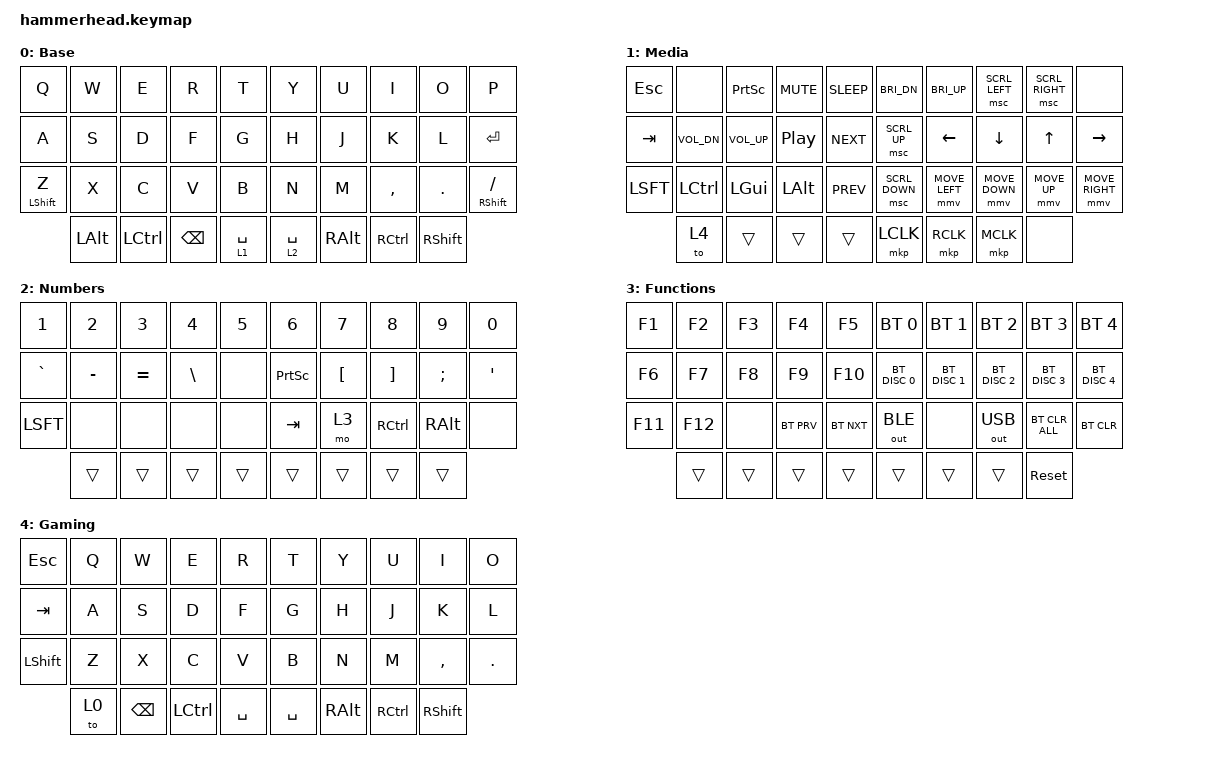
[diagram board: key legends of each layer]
#include <behaviors.dtsi>
#include <dt-bindings/zmk/keys.h>
#include <dt-bindings/zmk/bt.h>
#include <dt-bindings/zmk/pointing.h>
#include <dt-bindings/zmk/outputs.h>
#include <dt-bindings/zmk/mouse.h>

/ {
    keymap {
        compatible = "zmk,keymap";

        // Illustration of the keymap layout:
        // ┌────┬────┬────┬────┬────┬────┬────┬────┬────┬────┐
        // │ Q  │ W  │ E  │ R  │ T  │ Y  │ U  │ I  │ O  │ P  │
        // ├────┼────┼────┼────┼────┼────┼────┼────┼────┼────┤
        // │ A  │ S  │ D  │ F  │ G  │ H  │ J  │ K  │ L  │Entr│
        // ├────┼────┼────┼────┼────┼────┼────┼────┼────┼────┤
        // │ Z  │ X  │ C  │ V  │ B  │ N  │ M  │ ,  │ .  │ /  │
        // └────┴────┴────┴────┴────┴────┴────┴────┴────┴────┘
        //      │Ctrl│Win │Alt │Bksp│Spc │Alt │Ctrl│Shft│

        default_layer { // Layer 0
            display-name = "Base";
            bindings = <
                &kp Q           &kp W       &kp E       &kp R       &kp T               &kp Y         &kp U       &kp I       &kp O       &kp P
                &kp A           &kp S       &kp D       &kp F       &kp G               &kp H         &kp J       &kp K       &kp L       &kp ENTER
                &mt LSHIFT Z    &kp X       &kp C       &kp V       &kp B               &kp N         &kp M       &kp COMMA   &kp DOT     &mt RSHFT SLASH
                                &kp LALT    &kp LCTRL   &kp BSPC    &lt 1 SPACE         &lt 2 SPACE   &kp RALT    &kp RCTRL   &kp RSHFT
            >;
        };

        layer1 { // Layer 1
            display-name = "Media";
            bindings = <
                &kp ESC     &none           &kp PSCRN       &kp C_MUTE  &kp C_SLEEP         &kp C_BRI_DN    &kp C_BRI_UP    &msc SCRL_LEFT  &msc SCRL_RIGHT &none
                &kp TAB     &kp C_VOL_DN    &kp C_VOL_UP    &kp C_PP    &kp C_NEXT          &msc SCRL_UP    &kp LEFT        &kp DOWN        &kp UP          &kp RIGHT       
                &kp LSFT    &kp LCTRL       &kp LGUI        &kp LALT    &kp C_PREV          &msc SCRL_DOWN  &mmv MOVE_LEFT  &mmv MOVE_DOWN  &mmv MOVE_UP    &mmv MOVE_RIGHT 
                            &to 4           &trans          &trans      &trans              &mkp LCLK       &mkp RCLK       &mkp MCLK       &none
            >;
        };

        layer2 { // Layer 2
            display-name = "Numbers";
            bindings = <
                &kp N1      &kp N2      &kp N3      &kp N4      &kp N5              &kp N6      &kp N7      &kp N8      &kp N9      &kp N0
                &kp GRAVE   &kp MINUS   &kp EQUAL   &kp BSLH    &none               &kp PSCRN   &kp LBKT    &kp RBKT    &kp SEMI    &kp SQT
                &kp LSFT    &none       &none       &none       &none               &kp TAB     &mo 3       &kp RCTRL   &kp RALT    &none
                            &trans      &trans      &trans      &trans              &trans      &trans      &trans      &trans
            >;
        };

        layer3 { // Layer 3
            display-name = "Functions";
            bindings = <
                &kp F1      &kp F2      &kp F3      &kp F4      &kp F5              &bt BT_SEL 0    &bt BT_SEL 1    &bt BT_SEL 2    &bt BT_SEL 3    &bt BT_SEL 4
                &kp F6      &kp F7      &kp F8      &kp F9      &kp F10             &bt BT_DISC 0   &bt BT_DISC 1   &bt BT_DISC 2   &bt BT_DISC 3   &bt BT_DISC 4
                &kp F11     &kp F12     &none       &bt BT_PRV  &bt BT_NXT          &out OUT_BLE    &none           &out OUT_USB    &bt BT_CLR_ALL  &bt BT_CLR
                            &trans      &trans      &trans      &trans              &trans          &trans          &trans          &sys_reset
            >;
        };

        layer4 { // Layer 4
            display-name = "Gaming";
            bindings = <
                &kp ESC         &kp Q       &kp W       &kp E       &kp R               &kp T         &kp Y       &kp U       &kp I       &kp O
                &kp TAB         &kp A       &kp S       &kp D       &kp F               &kp G         &kp H       &kp J       &kp K       &kp L       
                &kp LSHIFT      &kp Z       &kp X       &kp C       &kp V               &kp B         &kp N       &kp M       &kp COMMA   &kp DOT
                                &to 0       &kp BSPC    &kp LCTRL   &kp SPACE           &kp SPACE     &kp RALT    &kp RCTRL   &kp RSHFT
            >;
        };
    };
};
